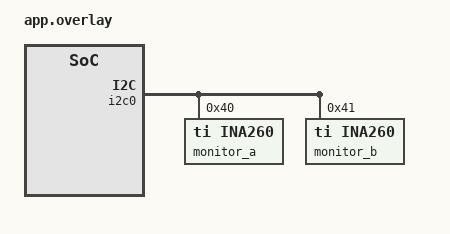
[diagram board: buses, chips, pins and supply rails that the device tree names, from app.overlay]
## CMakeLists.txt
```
cmake_minimum_required(VERSION 3.20.0)
find_package(Zephyr REQUIRED HINTS $ENV{ZEPHYR_BASE})
project(ina260_simulation)
target_sources(app PRIVATE src/main.c)
```

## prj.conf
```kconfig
CONFIG_ZTEST=y
CONFIG_SENSOR=y
CONFIG_I2C=y
CONFIG_EMUL=y
CONFIG_KLEO_INA260=y
```

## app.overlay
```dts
&i2c0 {
    monitor_a: ina260@40 { compatible = "ti,ina260"; reg = <0x40>; };
    monitor_b: ina260@41 { compatible = "ti,ina260"; reg = <0x41>; };
};
```

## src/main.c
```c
/* SPDX-License-Identifier: Apache-2.0 */
#define DT_DRV_COMPAT ti_ina260
#include <errno.h>
#include <string.h>
#include <zephyr/drivers/emul.h>
#include <zephyr/drivers/i2c_emul.h>
#include <zephyr/drivers/sensor.h>
#include <zephyr/ztest.h>

struct fake_sensor {
    uint16_t regs[256];
    int fail_reg;
    bool fail_write;
    unsigned transactions;
};
static void reset(struct fake_sensor *s)
{
    memset(s, 0, sizeof(*s));
    s->fail_reg = -1;
    s->regs[0xfe] = 0x5449;
    s->regs[0xff] = 0x2271;
    s->regs[6] = 8;
    s->regs[1] = 0xffff;
    s->regs[2] = 4000;
    s->regs[3] = 123;
}
static int transfer(const struct emul *em, struct i2c_msg *msg, int count, int addr)
{
    struct fake_sensor *s = em->data;
    ARG_UNUSED(addr);
    s->transactions++;
    if (count == 2 && msg[0].len == 1 && !(msg[0].flags & I2C_MSG_READ) &&
        msg[1].len == 2 && (msg[1].flags & I2C_MSG_READ)) {
        uint8_t reg = msg[0].buf[0];
        if (s->fail_reg == reg) { return -EIO; }
        msg[1].buf[0] = s->regs[reg] >> 8;
        msg[1].buf[1] = s->regs[reg] & 0xff;
        return 0;
    }
    if (count == 1 && msg[0].len == 3 && !(msg[0].flags & I2C_MSG_READ)) {
        if (s->fail_write) { return -EIO; }
        /* Reject unexpected writes, including INA219 calibration. */
        if (msg[0].buf[0] != 0 || msg[0].buf[1] != 0x61 ||
            msg[0].buf[2] != 0x23) { return -EINVAL; }
        s->regs[0] = 0x6123;
        return 0;
    }
    return -EIO;
}
static int init(const struct emul *em, const struct device *parent)
{
    ARG_UNUSED(parent);
    reset(em->data);
    return 0;
}
static const struct i2c_emul_api bus_api = { .transfer = transfer };
#define FAKE_DEFINE(n) \
    static struct fake_sensor fake_##n; \
    EMUL_DT_INST_DEFINE(n, init, &fake_##n, NULL, &bus_api, NULL);
DT_INST_FOREACH_STATUS_OKAY(FAKE_DEFINE)

static const struct device *const a = DEVICE_DT_GET(DT_NODELABEL(monitor_a));
static const struct device *const b = DEVICE_DT_GET(DT_NODELABEL(monitor_b));
static struct fake_sensor *state_a(void)
{
    return EMUL_DT_GET(DT_NODELABEL(monitor_a))->data;
}
static void before(void *fixture)
{
    ARG_UNUSED(fixture);
    zassert_true(device_is_ready(a));
    zassert_true(device_is_ready(b));
    reset(state_a());
    reset(EMUL_DT_GET(DT_NODELABEL(monitor_b))->data);
    /* Invalidate any previous cached sample through the public driver API. */
    state_a()->fail_reg = 0xfe;
    zassert_equal(sensor_sample_fetch(a), -EIO);
    state_a()->fail_reg = -1;
}
ZTEST(ina260, test_values_and_cached_reads)
{
    struct sensor_value value;
    zassert_equal(sensor_channel_get(a, SENSOR_CHAN_CURRENT, &value), -ENODATA);
    zassert_ok(sensor_sample_fetch(a));
    unsigned count = state_a()->transactions;
    zassert_ok(sensor_channel_get(a, SENSOR_CHAN_CURRENT, &value));
    zassert_equal(value.val1, 0);
    zassert_equal(value.val2, -1250);
    zassert_ok(sensor_channel_get(a, SENSOR_CHAN_VOLTAGE, &value));
    zassert_equal(value.val1, 5);
    zassert_equal(value.val2, 0);
    zassert_ok(sensor_channel_get(a, SENSOR_CHAN_POWER, &value));
    zassert_equal(value.val1, 1);
    zassert_equal(value.val2, 230000);
    zassert_equal(state_a()->transactions, count);
}
ZTEST(ina260, test_failure_invalidates_and_recovers)
{
    struct sensor_value value;
    zassert_ok(sensor_sample_fetch(a));
    state_a()->fail_reg = 3;
    zassert_equal(sensor_sample_fetch(a), -EIO);
    zassert_equal(sensor_channel_get(a, SENSOR_CHAN_VOLTAGE, &value), -ENODATA);
    zassert_equal(sensor_channel_get(a, SENSOR_CHAN_CURRENT, &value), -ENODATA);
    zassert_equal(sensor_channel_get(a, SENSOR_CHAN_POWER, &value), -ENODATA);
    state_a()->fail_reg = -1;
    zassert_ok(sensor_sample_fetch(a));
    state_a()->fail_write = true;
    zassert_equal(sensor_sample_fetch(a), -EIO);
}
ZTEST(ina260, test_timeout_and_overflow)
{
    state_a()->regs[6] = 0;
    zassert_equal(sensor_sample_fetch(a), -ETIMEDOUT);
    state_a()->regs[6] = 12;
    zassert_equal(sensor_sample_fetch(a), -ERANGE);
    state_a()->regs[6] = 8;
    zassert_ok(sensor_sample_fetch(a));
}
ZTEST(ina260, test_identity_and_unsupported_channel)
{
    struct sensor_value value;
    unsigned count = state_a()->transactions;
    zassert_equal(sensor_sample_fetch_chan(a, SENSOR_CHAN_AMBIENT_TEMP), -ENOTSUP);
    zassert_equal(sensor_channel_get(a, SENSOR_CHAN_AMBIENT_TEMP, &value), -ENOTSUP);
    zassert_equal(state_a()->transactions, count);
    state_a()->regs[0xff] = 0x2190;
    zassert_equal(sensor_sample_fetch(a), -ENODEV);
}
ZTEST(ina260, test_independent_devices)
{
    struct sensor_value value;
    state_a()->regs[2] = 8000;
    zassert_ok(sensor_sample_fetch(a));
    zassert_ok(sensor_sample_fetch(b));
    zassert_ok(sensor_channel_get(a, SENSOR_CHAN_VOLTAGE, &value));
    zassert_equal(value.val1, 10);
    zassert_ok(sensor_channel_get(b, SENSOR_CHAN_VOLTAGE, &value));
    zassert_equal(value.val1, 5);
}
ZTEST_SUITE(ina260, NULL, NULL, before, NULL, NULL);
```
